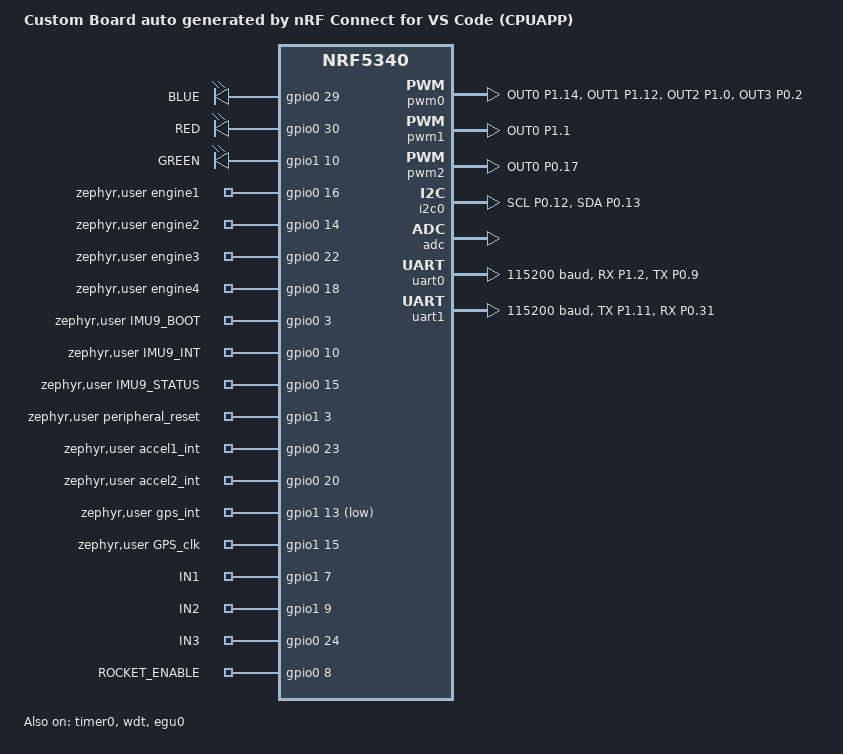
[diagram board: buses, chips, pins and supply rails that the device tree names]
/dts-v1/;
#include <nordic/nrf5340_cpuapp_qkaa.dtsi>
#include "opale-pinctrl.dtsi"

/ {
	model = "Custom Board auto generated by nRF Connect for VS Code (CPUAPP)";
	compatible = "unistra,opale-cpuapp";

	chosen {
		zephyr,sram = &sram0_image;
		zephyr,flash = &flash0;
		zephyr,code-partition = &slot0_partition;
		zephyr,sram-secure-partition = &sram0_s;
		zephyr,sram-non-secure-partition = &sram0_ns;
	};

	leds {
		compatible = "gpio-leds";
		blue: blue {
			gpios = <&gpio0 29 0>;
			label = "BLUE";
		};

		red: red {
			gpios = <&gpio0 30 0>;
			label = "RED";
		};

		green: green {
			gpios = <&gpio1 10 0>;
			label = "GREEN";
		};
	};

	zephyr,user {
		engine1-gpios = <&gpio0 16 0>;
		engine2-gpios = <&gpio0 14 0>;
		engine3-gpios = <&gpio0 22 0>;
		engine4-gpios = <&gpio0 18 0>;
		IMU9_BOOT-gpios = <&gpio0 3 0>;
		IMU9_INT-gpios = <&gpio0 10 0>;
		IMU9_STATUS-gpios = <&gpio0 15 0>;
		peripheral_reset-gpios = <&gpio1 3 0>;
		accel1_int-gpios = <&gpio0 23 0>;
		accel2_int-gpios = <&gpio0 20 0>;
		gps_int-gpios = <&gpio1 13 (GPIO_ACTIVE_LOW | (1 << 9))>;
		GPS_clk-gpios = <&gpio1 15 0>;
	};

	buttons {
		compatible = "gpio-keys";
		in1: in1 {
			gpios = <&gpio1 7 0>;
			label = "IN1";
		};

		in2: in2 {
			gpios = <&gpio1 9 0>;
			label = "IN2";
		};

		in3: in3 {
			gpios = <&gpio0 24 0>;
			label = "IN3";
		};

		rocketenable: rocket_enable {
			gpios = <&gpio0 8 0>;
			label = "ROCKET_ENABLE";
		};
	};
};

#include "opale-cpuapp_partitioning.dtsi"
#include "opale-shared_sram.dtsi"

&comp {
	compatible = "nordic,nrf-lpcomp";
};

&timer0 {
	status = "okay";
};

&timer1 {
	status = "disabled";
};

&timer2 {
	status = "disabled";
};

&gpio0 {
	status = "okay";
};

&gpio1 {
	status = "okay";
};

pos_ailerons: &pwm0 {
	status = "okay";
	pinctrl-0 = <&pwm0_default>;
	pinctrl-names = "default";
};

&pinctrl {
	pwm0_default: pwm0_default {
		group1 {
			psels = <NRF_PSEL(PWM_OUT0, 1, 14)>,
					<NRF_PSEL(PWM_OUT1, 1, 12)>,
					<NRF_PSEL(PWM_OUT2, 1, 0)>,
					<NRF_PSEL(PWM_OUT3, 0, 2)>;
		};
	};

	spi0_default: spi0_default {
		group1 {
			psels = <NRF_PSEL(SPIM_MISO, 1, 4)>,
					<NRF_PSEL(SPIM_MOSI, 0, 19)>,
					<NRF_PSEL(SPIM_SCK, 0, 21)>;
		};
	};

	pwm1_default: pwm1_default {
		group1 {
			psels = <NRF_PSEL(PWM_OUT0, 1, 1)>;
		};
	};

	pwm2_default: pwm2_default {
		group1 {
			psels = <NRF_PSEL(PWM_OUT0, 0, 17)>;
		};
	};

	i2c0_default: i2c0_default {
		group1 {
			psels = <NRF_PSEL(TWIM_SCL, 0, 12)>, <NRF_PSEL(TWIM_SDA, 0, 13)>;
		};
	};

	uart0_default: uart0_default {
		group1 {
			psels = <NRF_PSEL(UART_RX, 1, 2)>, <NRF_PSEL(UART_TX, 0, 9)>;
		};
	};

	uart1_default: uart1_default {
		group1 {
			psels = <NRF_PSEL(UART_TX, 1, 11)>, <NRF_PSEL(UART_RX, 0, 31)>;
		};
	};
};

&spi0 {
	status = "disabled";
	pinctrl-0 = <&spi0_default>;
	pinctrl-names = "default";
	cs-gpios = <&gpio1 8 0>;
	max-frequency = <DT_FREQ_M(20)>;
};

parachute: &pwm1 {
	status = "okay";
	pinctrl-0 = <&pwm1_default>;
	pinctrl-names = "default";
};

buzzer: &pwm2 {
	status = "okay";
	pinctrl-0 = <&pwm2_default>;
	pinctrl-names = "default";
};

&i2c0 {
	status = "okay";
	pinctrl-0 = <&i2c0_default>;
	pinctrl-names = "default";
};

&adc {
	status = "okay";
};

&uart0 {
	status = "okay";
	current-speed = <115200>;
	pinctrl-0 = <&uart0_default>;
	pinctrl-names = "default";
};

&uart1 {
	status = "okay";
	current-speed = <115200>;
	pinctrl-0 = <&uart1_default>;
	pinctrl-names = "default";
};

&pdm0 {
	status = "disabled";
};

&kmu {
	status = "disabled";
};

&cryptocell {
	status = "disabled";
};

&spu {
	status = "disabled";
};

&nfct {
	status = "disabled";
};

&ctrlap {
	status = "disabled";
};

&wdt1 {
	status = "disabled";
};

&wdt {
	status = "okay";
};

&comp {
	status = "disabled";
};

&regulators {
	status = "disabled";
};

&power {
	status = "disabled";
};

&egu0 {
	status = "okay";
};

&egu5 {
	status = "disabled";
};

&egu4 {
	status = "disabled";
};

&egu2 {
	status = "disabled";
};

&egu1 {
	status = "disabled";
};

&egu3 {
	status = "disabled";
};

